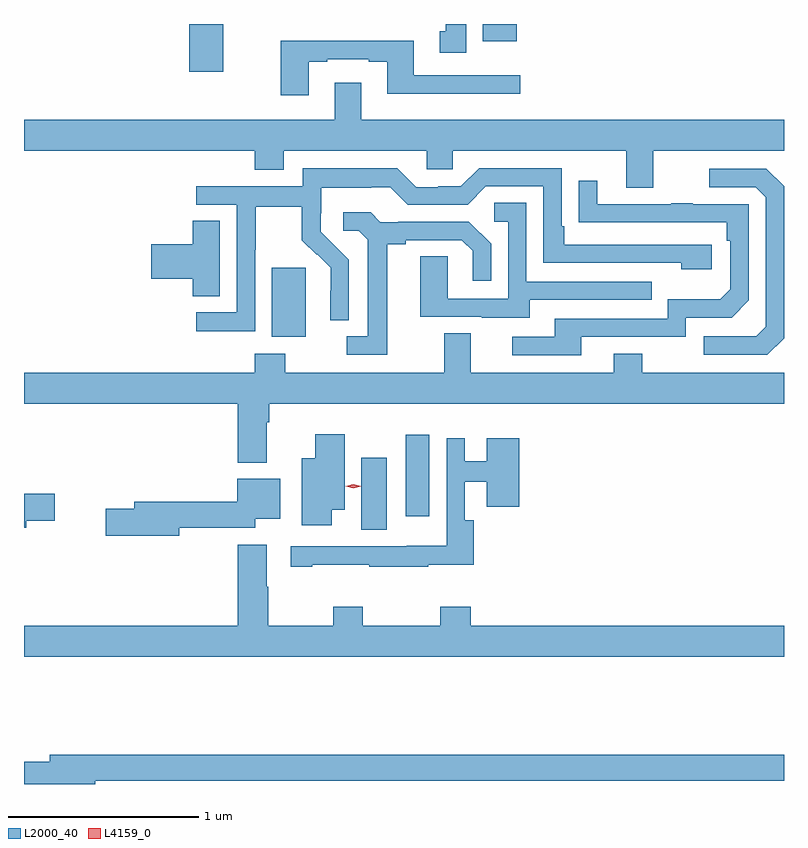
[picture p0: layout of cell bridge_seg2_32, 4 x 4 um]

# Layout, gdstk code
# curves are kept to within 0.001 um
import gdstk
lib = gdstk.Library(unit=1e-6, precision=1e-09)
def R(c, l, rs):  # rectangles x0, y0, x1, y1
    for r in rs: c.add(gdstk.rectangle(r[:2], r[2:], *l))
def P(c, l, *ps):  # polygons
    for p in ps: c.add(gdstk.Polygon(p, *l))
L2000_40 = (2000, 40)
L4159_0 = (4159, 0)

bridge_seg2_32 = lib.new_cell('bridge_seg2_32')
R(bridge_seg2_32, L2000_40, [(815.588,611.008,815.722,611.389), (815.822,611.079,815.944,611.509), (815.117,612.026,815.296,612.387), (814.682,613.419,814.86,613.671), (816.227,613.58,816.406,613.671)])
P(bridge_seg2_32, L2000_40, [(816.139,613.671),(816.032,613.671),(816.032,613.634),(815.999,613.634),(815.999,613.521),(816.139,613.521)],
  [(815.311,613.473),(815.407,613.473),(815.407,613.485),(815.627,613.485),(815.627,613.473),(815.723,613.473),(815.723,613.304),(816.424,613.304),(816.424,613.401),(815.863,613.401),(815.863,613.582),(815.164,613.582),(815.164,613.296),(815.311,613.296)],
  [(817.123,613.004),(817.812,613.004),(817.812,613.168),(815.587,613.168),(815.587,613.363),(815.447,613.363),(815.447,613.168),(813.812,613.168),(813.812,613.004),(815.027,613.004),(815.027,612.905),(815.179,612.905),(815.179,613.004),(815.931,613.004),(815.931,612.906),(816.069,612.906),(816.069,613.004),(816.983,613.004),(816.983,612.81),(817.123,612.81)],
  [(815.028,612.484),(815.031,612.484),(815.031,612.708),(815.275,612.708),(815.275,612.533),(815.352,612.456),(815.355,612.459),(815.426,612.389),(815.426,612.266),(815.424,612.266),(815.424,612.112),(815.52,612.112),(815.52,612.43),(815.374,612.578),(815.374,612.675),(815.376,612.675),(815.376,612.809),(815.639,612.809),(815.639,612.813),(815.739,612.813),(815.832,612.72),(816.147,612.72),(816.243,612.816),(816.546,612.816),(816.546,612.414),(817.271,612.414),(817.271,612.38),(817.432,612.38),(817.432,612.51),(816.655,612.51),(816.655,612.607),(816.642,612.607),(816.642,612.912),(816.207,612.912),(816.111,612.816),(815.993,612.816),(815.993,612.813),(815.877,612.813),(815.777,612.913),(815.28,612.913),(815.28,612.816),(814.719,612.816),(814.719,612.72),(814.932,612.72),(814.932,612.153),(814.719,612.153),(814.719,612.055),(815.028,612.055)],
  [(817.812,612.018),(817.812,612.816),(817.719,612.909),(817.419,612.909),(817.419,612.813),(817.662,612.813),(817.716,612.759),(817.716,612.078),(817.665,612.027),(817.389,612.027),(817.389,611.931),(817.725,611.931)],
  [(816.745,612.024),(817.296,612.024),(817.296,612.126),(817.536,612.126),(817.626,612.216),(817.626,612.723),(817.331,612.723),(817.331,612.728),(817.219,612.728),(817.219,612.723),(816.829,612.723),(816.829,612.847),(816.733,612.847),(816.733,612.628),(817.51,612.627),(817.51,612.53),(817.53,612.53),(817.53,612.276),(817.477,612.223),(817.2,612.223),(817.2,612.12),(816.605,612.12),(816.605,612.024),(816.381,612.024),(816.381,611.928),(816.745,611.928)],
  [(816.475,612.219),(817.115,612.219),(817.115,612.315),(816.456,612.315),(816.456,612.731),(816.288,612.731),(816.288,612.63),(816.36,612.63),(816.36,612.225),(816.042,612.225),(816.042,612.449),(815.897,612.449),(815.897,612.129),(816.221,612.129),(816.221,612.125),(816.475,612.125)],
  [(815.725,612.512),(815.821,612.512),(815.821,612.534),(816.116,612.534),(816.173,612.477),(816.173,612.321),(816.27,612.321),(816.27,612.514),(816.154,612.63),(815.782,612.63),(815.782,612.627),(815.688,612.627),(815.636,612.679),(815.493,612.679),(815.493,612.582),(815.574,612.582),(815.621,612.535),(815.621,612.027),(815.511,612.027),(815.511,611.931),(815.725,611.931)],
  [(814.843,612.635),(814.7,612.635),(814.7,612.512),(814.482,612.512),(814.482,612.329),(814.7,612.329),(814.7,612.238),(814.843,612.238)],
  [(815.089,611.576),(815.102,611.576),(815.102,611.672),(817.812,611.672),(817.812,611.836),(817.065,611.836),(817.065,611.935),(816.917,611.935),(816.917,611.836),(816.163,611.836),(816.163,612.044),(816.023,612.044),(816.023,611.836),(815.187,611.836),(815.187,611.935),(815.027,611.935),(815.027,611.836),(813.812,611.836),(813.812,611.672),(814.937,611.672),(814.937,611.363),(815.089,611.363)],
  [(815.431,611.114),(815.5,611.114),(815.5,611.512),(815.345,611.512),(815.345,611.386),(815.273,611.386),(815.273,611.034),(815.431,611.034)],
  [(815.329,610.825),(815.629,610.825),(815.629,610.815),(815.939,610.815),(815.939,610.825),(816.179,610.825),(816.179,611.059),(816.132,611.059),(816.132,611.261),(816.248,611.261),(816.248,611.13),(816.419,611.13),(816.419,611.491),(816.248,611.491),(816.248,611.371),(816.132,611.371),(816.132,611.491),(816.036,611.491),(816.036,610.924),(815.826,610.924),(815.826,610.923),(815.217,610.923),(815.217,610.815),(815.329,610.815)],
  [(814.63,611.02),(815.028,611.02),(815.028,611.066),(815.161,611.066),(815.161,611.278),(814.934,611.278),(814.934,611.156),(814.391,611.156),(814.391,611.12),(814.242,611.12),(814.242,610.978),(814.63,610.978)],
  [(813.823,611.057),(813.973,611.057),(813.973,611.199),(813.812,611.199),(813.812,611.02),(813.823,611.02)],
  [(817.812,610.504),(816.164,610.504),(816.164,610.603),(816.004,610.603),(816.004,610.504),(815.595,610.504),(815.595,610.603),(815.44,610.603),(815.44,610.504),(815.097,610.504),(815.097,610.709),(815.089,610.709),(815.089,610.93),(814.937,610.93),(814.937,610.504),(813.812,610.504),(813.812,610.34),(817.812,610.34)],
  [(814.186,609.688),(817.812,609.688),(817.812,609.824),(813.947,609.824),(813.947,609.788),(813.812,609.788),(813.812,609.671),(814.186,609.671)])
P(bridge_seg2_32, L4159_0, [(815.546,611.228),(815.506,611.237),(815.506,611.238),(815.506,611.238),(815.546,611.248),(815.586,611.238),(815.586,611.238),(815.586,611.237)])

lib.write_gds('bridge_seg2_32.gds')
